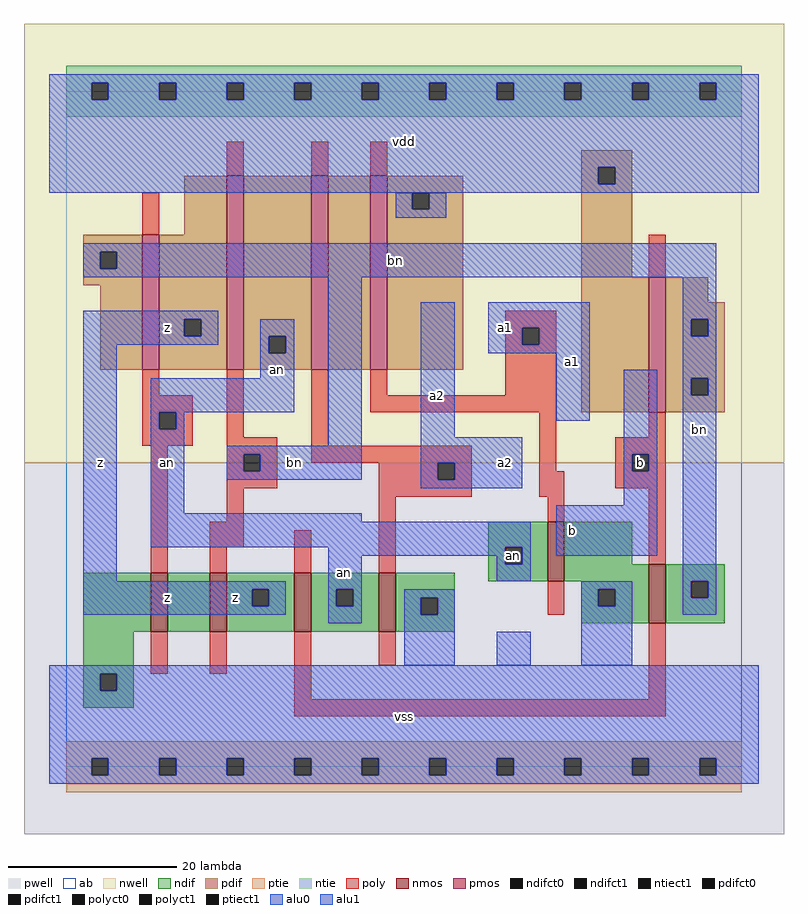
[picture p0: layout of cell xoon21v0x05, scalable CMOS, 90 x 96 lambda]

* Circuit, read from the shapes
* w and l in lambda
.subckt xoon21v0x05 a1 a2 an b bn vdd vss z
M1 n1 an vss vss nfet w=7 l=2
M2 z bn n1 vss nfet w=7 l=2
M3 an b z vss nfet w=7 l=2
M4 vss a2 an vss nfet w=7 l=2
M5 vss a1 an vss nfet w=7 l=2
M6 bn b vss vss nfet w=7 l=2
M7 z an bn vdd pfet w=16 l=2
M8 an bn z vdd pfet w=23 l=2
M9 n2 a2 an vdd pfet w=23 l=2
M10 vdd a1 n2 vdd pfet w=23 l=2
M11 bn b vdd vdd pfet w=16 l=2
.ends

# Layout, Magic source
magic
tech scmos
<< ab >>
rect 0 0 80 80
<< nwell >>
rect -5 36 85 88
<< pwell >>
rect -5 -8 85 36
<< poly >>
rect 19 70 21 74
rect 29 70 31 74
rect 36 70 38 74
rect 9 63 11 68
rect 69 58 71 63
rect 52 52 58 54
rect 52 50 54 52
rect 56 50 58 52
rect 9 44 11 47
rect 9 42 15 44
rect 9 40 11 42
rect 13 40 15 42
rect 9 38 15 40
rect 19 39 21 47
rect 10 23 12 38
rect 19 37 25 39
rect 19 35 21 37
rect 23 35 25 37
rect 29 38 31 47
rect 36 44 38 47
rect 52 44 58 50
rect 36 42 58 44
rect 29 36 48 38
rect 19 33 25 35
rect 37 34 44 36
rect 46 34 48 36
rect 19 29 21 33
rect 17 26 21 29
rect 37 32 48 34
rect 56 35 58 42
rect 69 39 71 42
rect 65 37 71 39
rect 65 35 67 37
rect 69 35 71 37
rect 56 32 59 35
rect 65 33 71 35
rect 17 23 19 26
rect 27 23 29 28
rect 37 23 39 32
rect 57 29 59 32
rect 69 24 71 33
rect 57 18 59 22
rect 10 11 12 16
rect 17 11 19 16
rect 27 8 29 16
rect 37 12 39 16
rect 69 8 71 17
rect 27 6 71 8
<< ndif >>
rect 50 26 57 29
rect 50 24 52 26
rect 54 24 57 26
rect 2 16 10 23
rect 12 16 17 23
rect 19 21 27 23
rect 19 19 22 21
rect 24 19 27 21
rect 19 16 27 19
rect 29 21 37 23
rect 29 19 32 21
rect 34 19 37 21
rect 29 16 37 19
rect 39 20 46 23
rect 50 22 57 24
rect 59 24 67 29
rect 59 22 69 24
rect 39 18 42 20
rect 44 18 46 20
rect 61 21 69 22
rect 61 19 63 21
rect 65 19 69 21
rect 39 16 46 18
rect 61 17 69 19
rect 71 22 78 24
rect 71 20 74 22
rect 76 20 78 22
rect 71 17 78 20
rect 2 11 8 16
rect 2 9 4 11
rect 6 9 8 11
rect 2 7 8 9
<< pdif >>
rect 61 71 67 73
rect 14 63 19 70
rect 2 61 9 63
rect 2 59 4 61
rect 6 59 9 61
rect 2 57 9 59
rect 4 47 9 57
rect 11 53 19 63
rect 11 51 14 53
rect 16 51 19 53
rect 11 47 19 51
rect 21 51 29 70
rect 21 49 24 51
rect 26 49 29 51
rect 21 47 29 49
rect 31 47 36 70
rect 38 68 47 70
rect 38 66 41 68
rect 43 66 47 68
rect 38 47 47 66
rect 61 69 63 71
rect 65 69 67 71
rect 61 58 67 69
rect 61 42 69 58
rect 71 55 76 58
rect 71 53 78 55
rect 71 51 74 53
rect 76 51 78 53
rect 71 46 78 51
rect 71 44 74 46
rect 76 44 78 46
rect 71 42 78 44
<< alu1 >>
rect -2 81 82 82
rect -2 79 3 81
rect 5 79 11 81
rect 13 79 19 81
rect 21 79 27 81
rect 29 79 35 81
rect 37 79 43 81
rect 45 79 51 81
rect 53 79 59 81
rect 61 79 67 81
rect 69 79 75 81
rect 77 79 82 81
rect -2 71 82 79
rect -2 69 63 71
rect 65 69 82 71
rect -2 68 82 69
rect 2 53 18 54
rect 2 51 14 53
rect 16 51 18 53
rect 2 50 18 51
rect 2 22 6 50
rect 42 39 46 55
rect 50 52 62 55
rect 50 50 54 52
rect 56 50 62 52
rect 50 49 62 50
rect 58 41 62 49
rect 42 36 54 39
rect 42 34 44 36
rect 46 34 54 36
rect 42 33 54 34
rect 66 37 70 47
rect 66 35 67 37
rect 69 35 70 37
rect 66 31 70 35
rect 2 21 26 22
rect 2 19 22 21
rect 24 19 26 21
rect 2 18 26 19
rect 58 25 70 31
rect -2 11 82 12
rect -2 9 4 11
rect 6 9 82 11
rect -2 1 82 9
rect -2 -1 3 1
rect 5 -1 11 1
rect 13 -1 19 1
rect 21 -1 27 1
rect 29 -1 35 1
rect 37 -1 43 1
rect 45 -1 51 1
rect 53 -1 59 1
rect 61 -1 67 1
rect 69 -1 75 1
rect 77 -1 82 1
rect -2 -2 82 -1
<< ptie >>
rect 0 1 80 3
rect 0 -1 3 1
rect 5 -1 11 1
rect 13 -1 19 1
rect 21 -1 27 1
rect 29 -1 35 1
rect 37 -1 43 1
rect 45 -1 51 1
rect 53 -1 59 1
rect 61 -1 67 1
rect 69 -1 75 1
rect 77 -1 80 1
rect 0 -3 80 -1
<< ntie >>
rect 0 81 80 83
rect 0 79 3 81
rect 5 79 11 81
rect 13 79 19 81
rect 21 79 27 81
rect 29 79 35 81
rect 37 79 43 81
rect 45 79 51 81
rect 53 79 59 81
rect 61 79 67 81
rect 69 79 75 81
rect 77 79 80 81
rect 0 77 80 79
<< nmos >>
rect 10 16 12 23
rect 17 16 19 23
rect 27 16 29 23
rect 37 16 39 23
rect 57 22 59 29
rect 69 17 71 24
<< pmos >>
rect 9 47 11 63
rect 19 47 21 70
rect 29 47 31 70
rect 36 47 38 70
rect 69 42 71 58
<< polyct0 >>
rect 11 40 13 42
rect 21 35 23 37
<< polyct1 >>
rect 54 50 56 52
rect 44 34 46 36
rect 67 35 69 37
<< ndifct0 >>
rect 52 24 54 26
rect 32 19 34 21
rect 42 18 44 20
rect 63 19 65 21
rect 74 20 76 22
<< ndifct1 >>
rect 22 19 24 21
rect 4 9 6 11
<< ntiect1 >>
rect 3 79 5 81
rect 11 79 13 81
rect 19 79 21 81
rect 27 79 29 81
rect 35 79 37 81
rect 43 79 45 81
rect 51 79 53 81
rect 59 79 61 81
rect 67 79 69 81
rect 75 79 77 81
<< ptiect1 >>
rect 3 -1 5 1
rect 11 -1 13 1
rect 19 -1 21 1
rect 27 -1 29 1
rect 35 -1 37 1
rect 43 -1 45 1
rect 51 -1 53 1
rect 59 -1 61 1
rect 67 -1 69 1
rect 75 -1 77 1
<< pdifct0 >>
rect 4 59 6 61
rect 24 49 26 51
rect 41 66 43 68
rect 74 51 76 53
rect 74 44 76 46
<< pdifct1 >>
rect 14 51 16 53
rect 63 69 65 71
<< alu0 >>
rect 39 66 41 68
rect 43 66 45 68
rect 39 65 45 66
rect 2 61 77 62
rect 2 59 4 61
rect 6 59 77 61
rect 2 58 77 59
rect 23 51 27 53
rect 23 49 24 51
rect 26 49 27 51
rect 23 46 27 49
rect 10 42 27 46
rect 10 40 11 42
rect 13 40 14 42
rect 10 30 14 40
rect 31 38 35 58
rect 19 37 35 38
rect 19 35 21 37
rect 23 35 35 37
rect 19 34 35 35
rect 73 53 77 58
rect 73 51 74 53
rect 76 51 77 53
rect 10 29 35 30
rect 10 26 55 29
rect 31 25 52 26
rect 31 21 35 25
rect 51 24 52 25
rect 54 24 55 26
rect 73 46 77 51
rect 73 44 74 46
rect 76 44 77 46
rect 51 22 55 24
rect 73 22 77 44
rect 61 21 67 22
rect 31 19 32 21
rect 34 19 35 21
rect 31 17 35 19
rect 40 20 46 21
rect 40 18 42 20
rect 44 18 46 20
rect 40 12 46 18
rect 61 19 63 21
rect 65 19 67 21
rect 51 12 55 16
rect 61 12 67 19
rect 73 20 74 22
rect 76 20 77 22
rect 73 18 77 20
<< labels >>
rlabel alu0 12 36 12 36 6 an
rlabel alu0 33 23 33 23 6 an
rlabel alu0 27 36 27 36 6 bn
rlabel alu0 25 47 25 47 6 an
rlabel ndifct0 53 25 53 25 6 an
rlabel alu0 39 60 39 60 6 bn
rlabel alu0 75 40 75 40 6 bn
rlabel alu1 12 20 12 20 6 z
rlabel alu1 4 36 4 36 6 z
rlabel alu1 12 52 12 52 6 z
rlabel alu1 20 20 20 20 6 z
rlabel alu1 40 6 40 6 6 vss
rlabel alu1 52 36 52 36 6 a2
rlabel alu1 44 44 44 44 6 a2
rlabel alu1 52 52 52 52 6 a1
rlabel alu1 40 74 40 74 6 vdd
rlabel alu1 60 28 60 28 6 b
rlabel polyct1 68 36 68 36 6 b
rlabel alu1 60 48 60 48 6 a1
<< end >>
